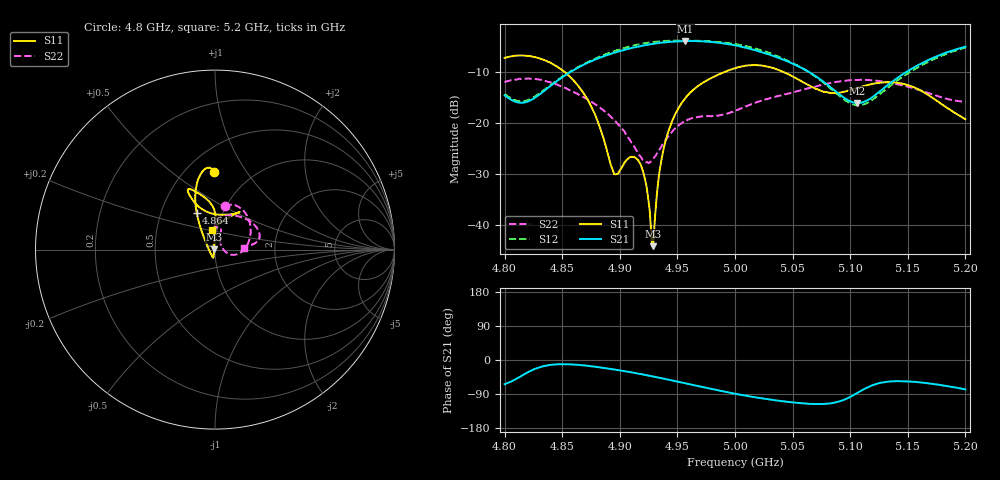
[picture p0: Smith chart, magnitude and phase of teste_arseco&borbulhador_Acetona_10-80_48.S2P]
! Network Analyzer HP8722D
! Hewlett-Packard
! Data name: Linha & Wilkinson
! Saver's name: Rodrigo Anjos
! Comments: Teste da utilização de aquisição
! continua pelo VNA HP8722D
! Time and date: 25/4/2025 15:40
!  Frequency  S11  S21  S12  S22
# HZ  S  MA R 50
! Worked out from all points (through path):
!   401 points, 4.8 GHz to 5.2 GHz, reference 50 ohm
!   highest |S21| = -3.96 dB at 4.957 GHz (marker M1); lowest = -16.1 dB at 5.106 GHz (marker M2)
!   lowest |S11| = -44.2 dB at 4.929 GHz (marker M3), VSWR 1.01, Z = 49.4 + j0.223 ohm
!   |S11| at or under -10 dB: 4.852 GHz to 4.991 GHz (139.3 MHz wide, 2.83 % of centre); 5.042 GHz to end of sweep
!   |S22| runs from -27.9 to -11.3 dB; largest |S21 - S12| = 1.2
!   S11 on the Smith chart (normalised r, x): 4.8 GHz: 0.68, +0.73; 4.864 GHz: 0.75, +0.33; 5.2 GHz: 0.94, +0.20
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4.8e9  0.4335 90.5  0.1862 -63.9  0.1915 69.6  0.2501 77.1
4.82e9  0.4523 96.8  0.1613 -32.6  0.1674 98.3  0.2724 61.9
4.844e9  0.3645 106.5  0.2499 -11.7  0.2535 119.1  0.2395 35.4
4.864e9  0.23 116.4  0.3498 -12.9  0.3528 120.9  0.1903 12.0
4.867e9  0.2069 118.0  0.3637 -13.8  0.3685 120.8  0.1831 8.6
4.88e9  0.1094 128.3  0.4238 -18.4  0.4337 118.2  0.1486 -5.3
4.895e9  0.03155 -171.4  0.4867 -24.8  0.502 113.8  0.107 -16.0
4.909e9  0.04617 -105.3  0.5369 -32.0  0.5623 107.7  0.06701 -14.8
4.917e9  0.0409 -100.8  0.563 -36.4  0.5906 103.6  0.04805 -1.9
4.922e9  0.02771 -104.1  0.5774 -39.1  0.6042 100.7  0.0419 15.8
4.927e9  0.009251 -131.3  0.5895 -42.4  0.6174 97.6  0.04188 37.1
4.929e9  0.006201 158.6  0.5944 -43.7  0.6203 96.6  0.04404 45.5
4.934e9  0.03049 98.3  0.6047 -46.8  0.6297 93.2  0.05418 58.7
4.943e9  0.08773 90.1  0.6204 -52.5  0.6391 87.5  0.07618 69.4
4.957e9  0.1756 89.0  0.6342 -61.5  0.6407 78.6  0.1043 71.7
5e9  0.3435 109.0  0.5757 -89.2  0.5945 50.8  0.1315 88.9
5.03e9  0.3522 115.1  0.4661 -104.3  0.4828 33.8  0.1737 85.6
5.067e9  0.2247 104.9  0.3022 -116.1  0.2994 23.5  0.2226 57.4
5.106e9  0.2189 64.0  0.1563 -87.3  0.1485 55.7  0.2634 24.9
5.134e9  0.2506 56.8  0.2406 -56.8  0.2268 88.7  0.2481 12.5
5.17e9  0.181 70.1  0.4232 -62.5  0.4072 84.4  0.1929 6.8
5.2e9  0.1089 100.2  0.5578 -77.6  0.5456 70.2  0.1608 3.9
